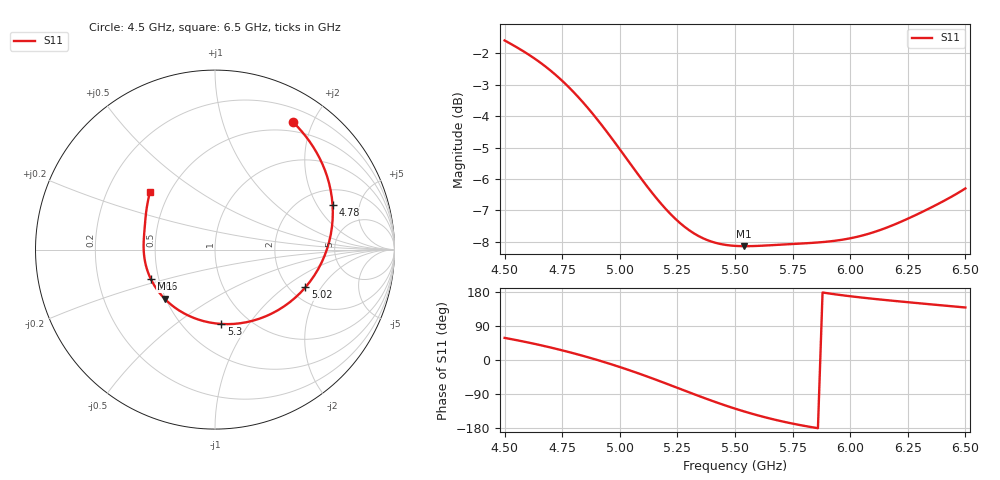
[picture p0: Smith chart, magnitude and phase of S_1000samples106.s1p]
! TOUCHSTONE file generated by CST MICROWAVE STUDIO
! Date and time: Thu Oct 27 00:32:07 2022
! Project name: L.cst
! Parameters = {Di=1.27; Epsilon_r=1.56; InnerDiameter=1.27; Length=2; Lf=10; Lg=60; OuterConductorThickness=0.2921; OuterDiameter=3.6; Wf=3; Wp=41.2; de=1.5; df=6.8; g=0.8; gx=1.94487; gy=0.986774; h=2.34; hf=1.524; px=11.4422; py=9.83192; w=9.7; wx=9.49731; wy=8.84515}
! Header version: 2018
! Port assignment regex: !\s*Touchstone port\s*([0-9]+)\s*=\s*(CST MWS port|CST DS port)\s*([0-9]+|Zmin|Zmax)\s*\(\"(.*)\"\)(\s*mode\s*([0-9]+))?.*
! Touchstone port assignment:
! Touchstone port 1 = CST MWS port 1 ("")
# GHz S DB R 50
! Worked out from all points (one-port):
!   101 points, 4.5 GHz to 6.5 GHz, reference 50 ohm
!   lowest |S11| = -8.1 dB at 5.54 GHz (marker M1), VSWR 2.29, Z = 24.7 - j15.9 ohm
!   |S11| at or under -10 dB: nowhere
!   S11 on the Smith chart (normalised r, x): 4.5 GHz: 0.38, +1.73; 4.78 GHz: 2.81, +2.75; 5.02 GHz: 2.42, -1.45; 5.3 GHz: 0.75, -0.75; 5.66 GHz: 0.45, -0.17; 6.5 GHz: 0.39, +0.33
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4.5  -1.59 58.3
4.58  -1.93 49.0
4.64  -2.22 41.2
4.7  -2.56 32.9
4.76  -2.95 23.9
4.78  -3.09 20.8
4.84  -3.56 11.0
4.88  -3.90 4.0
4.94  -4.46 -6.9
5  -5.05 -18.6
5.02  -5.26 -22.6
5.08  -5.86 -35.1
5.14  -6.44 -48.3
5.2  -6.96 -61.9
5.26  -7.39 -75.8
5.3  -7.62 -85.1
5.34  -7.81 -94.3
5.4  -7.99 -107.6
5.46  -8.10 -120.3
5.5  -8.13 -128.3
5.54  -8.13 -135.8
5.6  -8.13 -146.2
5.66  -8.10 -155.6
5.76  -8.06 -169.1
5.88  -8.00 178.1
6  -7.88 168.3
6.26  -7.23 152.0
6.5  -6.30 138.6
